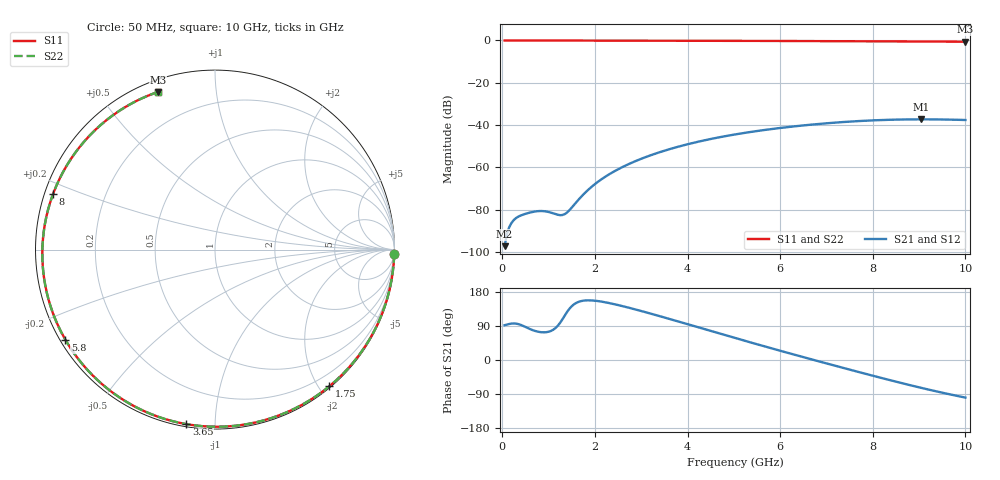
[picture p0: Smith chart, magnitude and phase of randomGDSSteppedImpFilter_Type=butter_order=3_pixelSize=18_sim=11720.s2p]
! freq	dB(S11)	phase(S11)	dB(S12)	phase(S12)
!  dB(S21)	phase(S21)	dB(S22)	phase(S22)
!S-par simulation data
#  GHz  S  DB  R 50
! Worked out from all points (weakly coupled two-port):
!   200 points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, 50 MHz to 10 GHz, reference 50 ohm
!   highest |S21| = -37.25 dB at 9.05 GHz (marker M1); lowest = -97.2 dB at 50 MHz (marker M2)
!   lowest |S11| = -0.6 dB at 10 GHz (marker M3), VSWR 29.31, Z = 2.55 + j35.1 ohm
!   |S11| at or under -10 dB: nowhere
!   |S22| runs from -0.6 to 0.0 dB; largest |S21 - S12| = 0
!   S11 on the Smith chart (normalised r, x): 50 MHz: 2, -81; 1.75 GHz: 0.02, -2.14; 3.65 GHz: 0.01, -0.85; 5.8 GHz: 0.01, -0.28; 8 GHz: 0.02, +0.17; 10 GHz: 0.05, +0.70
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0.05  -0.01 -1.4  -97.16 91.9  -97.16 91.9  -0.01 -1.4
0.4  -0.02 -11.7  -82.65 92.6  -82.65 92.6  -0.02 -11.7
0.7  -0.03 -20.4  -80.80 77.0  -80.80 77.0  -0.03 -20.4
1.05  -0.04 -30.5  -81.29 76.7  -81.29 76.7  -0.04 -30.5
1.45  -0.05 -41.8  -80.16 135.3  -80.16 135.3  -0.05 -41.8
1.75  -0.06 -50.1  -72.75 156.6  -72.75 156.6  -0.06 -50.1
2.05  -0.07 -58.3  -67.00 155.8  -67.00 155.8  -0.07 -58.3
2.45  -0.09 -68.9  -61.43 146.4  -61.43 146.4  -0.09 -68.9
2.9  -0.10 -80.6  -56.77 132.6  -56.77 132.6  -0.10 -80.6
3.4  -0.12 -93.2  -52.77 115.7  -52.77 115.7  -0.12 -93.2
3.65  -0.13 -99.3  -51.10 107.0  -51.10 107.0  -0.13 -99.3
4.3  -0.15 -114.8  -47.48 83.9  -47.48 83.9  -0.15 -114.8
5.05  -0.19 -132.1  -44.30 57.3  -44.30 57.3  -0.19 -132.0
5.8  -0.24 -148.9  -41.88 31.3  -41.88 31.3  -0.24 -148.9
6.25  -0.27 -159.0  -40.71 16.0  -40.71 16.0  -0.27 -159.0
6.7  -0.30 -169.1  -39.70 0.9  -39.70 0.9  -0.30 -169.1
7.35  -0.35 176.2  -38.55 -20.5  -38.55 -20.5  -0.35 176.2
8  -0.41 161.0  -37.75 -41.5  -37.75 -41.5  -0.41 161.0
8.35  -0.44 152.6  -37.47 -52.5  -37.47 -52.5  -0.44 152.6
9.05  -0.51 135.1  -37.25 -73.6  -37.25 -73.6  -0.51 135.1
9.55  -0.55 122.0  -37.35 -87.6  -37.35 -87.6  -0.55 122.0
10  -0.59 109.8  -37.57 -99.2  -37.57 -99.2  -0.59 109.8
